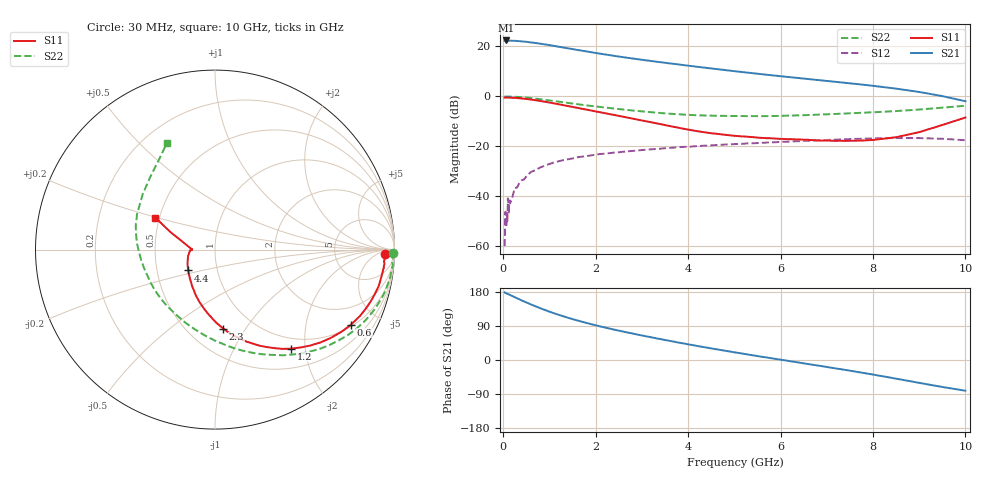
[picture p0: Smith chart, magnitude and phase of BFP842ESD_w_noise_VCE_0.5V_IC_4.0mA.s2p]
! Infineon Technologies  Discrete & RF Semiconductors
! BFP842ESD
! VCE =  0.5 V,  IC =  4.0 mA
! Common Emitter S-Parameters:  May 2012
# GHz  S  MA  R  50
!  f  S11  S21  S12  S22
! GHz  MAG  ANG  MAG  ANG  MAG  ANG  MAG  ANG
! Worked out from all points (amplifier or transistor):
!   99 points, 30 MHz to 10 GHz, reference 50 ohm
!   highest |S21| = 22.4 dB at 60 MHz (marker M1)
!   |S21| within 3 dB of that: start of sweep to 1.356 GHz
!   unconditionally stable (mu >= 1): 3.399 GHz to end of sweep
!   at 350 MHz: K = 0.11, MSG = 28.4 dB, |S12| = -34.6 dB
!   at 3.5 GHz: K = 1.02, MAG = 16.3 dB, |S12| = -20.8 dB
!   at 10 GHz: K = 2.25, MAG = 1.5 dB, |S12| = -17.6 dB
!   lowest NFmin = 0.36 dB at 450 MHz
!   S11 on the Smith chart (normalised r, x): 30 MHz: 31, -14; 600 MHz: 1.07, -3.58; 1.2 GHz: 0.81, -1.74; 2.3 GHz: 0.73, -0.80; 4.4 GHz: 0.72, -0.17; 10 GHz: 0.47, +0.20
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0.03  0.9481 -1.4  13.07 178.4  0.001 137.6  0.994 -1.2
0.05  0.9493 -2.9  12.99 176.8  0.0049 82.5  0.9966 -2.4
0.06  0.9432 -3.0  13.2 176.3  0.0024 21.8  0.9927 -2.3
0.08  0.9436 -4.0  13.12 175.1  0.0046 63.6  0.9915 -3.2
0.09  0.9462 -4.5  12.94 175.0  0.0032 106.9  0.993 -3.8
0.1  0.9473 -5.0  13.07 174.4  0.0091 71.7  0.9899 -4.3
0.12  0.9464 -6.3  13.12 173.1  0.0044 108.6  0.9955 -5.4
0.14  0.9429 -7.1  13.07 172.1  0.0083 90.7  0.9922 -6.0
0.35  0.9179 -17.4  12.79 160.1  0.0186 78.7  0.9707 -15.3
0.6  0.8657 -28.9  12.06 146.6  0.0306 69.8  0.9258 -25.3
0.9  0.7826 -41.4  11.01 132.1  0.041 59.6  0.8548 -36.3
1.2  0.6965 -52.4  9.888 119.2  0.0502 52.3  0.7848 -45.9
1.7  0.5658 -67.9  8.239 101.1  0.0621 42.5  0.6794 -59.8
2  0.5005 -76.3  7.406 91.7  0.0679 39.0  0.6294 -67.3
2.3  0.4422 -84.0  6.711 82.9  0.0729 34.9  0.5856 -74.4
2.9  0.344 -98.8  5.576 67.2  0.0825 27.5  0.5131 -88.9
3.4  0.2788 -112.2  4.846 55.2  0.0898 22.6  0.4651 -101.6
4.4  0.1888 -142.0  3.724 32.8  0.1035 11.6  0.4136 -128.4
5.1  0.1596 -161.5  3.127 18.4  0.1119 4.6  0.4034 -145.7
6.7  0.1328 -179.7  2.181 -12.6  0.1309 -13.3  0.427 179.9
8.5  0.1521 172.7  1.431 -49.2  0.1466 -39.9  0.508 142.3
10  0.3776 151.8  0.801 -81.0  0.1325 -68.5  0.6504 114.4
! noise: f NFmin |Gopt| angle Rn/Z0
0.45  0.36  0.47  2  0.13
0.9  0.39  0.49  8  0.13
1.5  0.43  0.47  21  0.12
1.9  0.44  0.44  30  0.12
2.4  0.48  0.41  44  0.11
3.5  0.62  0.3  80  0.09
4  0.68  0.25  99  0.09
5  0.74  0.23  117  0.08
5.5  0.89  0.22  140  0.08
6  1.04  0.21  152  0.08
